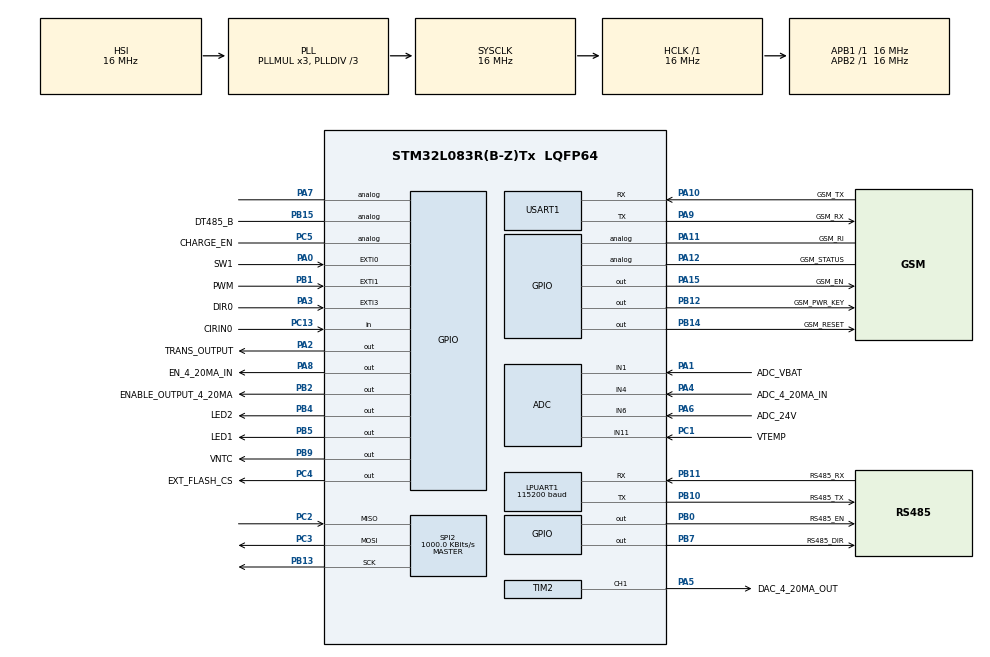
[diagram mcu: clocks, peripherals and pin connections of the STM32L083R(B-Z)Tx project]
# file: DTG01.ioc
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ADC.ClockPrescaler=ADC_CLOCK_ASYNC_DIV10
ADC.EOCSelection=ADC_EOC_SINGLE_CONV
ADC.LowPowerAutoPowerOff=DISABLE
ADC.LowPowerFrequencyMode=ENABLE
ADC.SamplingTime=ADC_SAMPLETIME_160CYCLES_5
Dma.Request0=USART1_RX
Dma.Request1=USART1_TX
Dma.USART1_RX.0.Direction=DMA_PERIPH_TO_MEMORY
Dma.USART1_RX.0.Instance=DMA1_Channel3
Dma.USART1_RX.0.MemDataAlignment=DMA_MDATAALIGN_BYTE
Dma.USART1_RX.0.MemInc=DMA_MINC_ENABLE
Dma.USART1_RX.0.Mode=DMA_CIRCULAR
Dma.USART1_RX.0.PeriphDataAlignment=DMA_PDATAALIGN_BYTE
Dma.USART1_RX.0.PeriphInc=DMA_PINC_DISABLE
Dma.USART1_RX.0.Priority=DMA_PRIORITY_HIGH
Dma.USART1_TX.1.Direction=DMA_MEMORY_TO_PERIPH
Dma.USART1_TX.1.Instance=DMA1_Channel2
Dma.USART1_TX.1.MemDataAlignment=DMA_MDATAALIGN_BYTE
Dma.USART1_TX.1.MemInc=DMA_MINC_ENABLE
Dma.USART1_TX.1.Mode=DMA_NORMAL
Dma.USART1_TX.1.PeriphDataAlignment=DMA_PDATAALIGN_BYTE
Dma.USART1_TX.1.PeriphInc=DMA_PINC_DISABLE
Dma.USART1_TX.1.Priority=DMA_PRIORITY_HIGH
IWDG.Prescaler=IWDG_PRESCALER_256
LPUART1.BaudRate=115200
LPUART1.WordLength=UART_WORDLENGTH_8B
Mcu.Family=STM32L0
Mcu.Name=STM32L083R(B-Z)Tx
Mcu.Package=LQFP64
NVIC.ADC1_COMP_IRQn=true\:0\:0\:false\:false\:true\:true\:true
NVIC.AES_RNG_LPUART1_IRQn=true\:0\:0\:false\:false\:true\:true\:true
NVIC.DMA1_Channel2_3_IRQn=true\:0\:0\:false\:false\:true\:false\:true
NVIC.EXTI0_1_IRQn=true\:0\:0\:false\:false\:true\:true\:true
NVIC.EXTI2_3_IRQn=true\:0\:0\:false\:false\:true\:true\:true
NVIC.RTC_IRQn=true\:0\:0\:false\:false\:true\:true\:true
NVIC.SPI2_IRQn=true\:0\:0\:false\:false\:true\:true\:true
NVIC.USART1_IRQn=true\:0\:0\:false\:false\:true\:true\:true
PA0.GPIO_Label=SW1
PA0.Signal=GPXTI0
PA1.GPIO_Label=ADC_VBAT
PA1.Mode=IN1
PA1.Signal=ADC_IN1
PA10.GPIO_Label=GSM_TX
PA10.Mode=Asynchronous
PA10.Signal=USART1_RX
PA11.GPIO_Label=GSM_RI
PA11.Signal=GPIO_Analog
PA12.GPIO_Label=GSM_STATUS
PA12.Signal=GPIO_Analog
PA13.Mode=Serial_Wire
PA13.Signal=SYS_SWDIO
PA14.Mode=Serial_Wire
PA14.Signal=SYS_SWCLK
PA15.GPIO_Label=GSM_EN
PA15.Signal=GPIO_Output
PA2.GPIO_Label=TRANS_OUTPUT
PA2.Signal=GPIO_Output
PA3.GPIO_Label=DIR0
PA3.GPIO_ModeDefaultEXTI=GPIO_MODE_IT_RISING_FALLING
PA3.GPIO_PuPd=GPIO_NOPULL
PA3.Signal=GPXTI3
PA4.GPIO_Label=ADC_4_20MA_IN
PA4.Signal=SharedAnalog_PA4
PA5.GPIO_Label=DAC_4_20MA_OUT
PA5.Signal=S_TIM2_CH1
PA6.GPIO_Label=ADC_24V
PA6.Signal=SharedAnalog_PA6
PA7.Signal=GPIO_Analog
PA8.GPIO_Label=EN_4_20MA_IN
PA8.PinState=GPIO_PIN_SET
PA8.Signal=GPIO_Output
PA9.GPIO_Label=GSM_RX
PA9.Mode=Asynchronous
PA9.Signal=USART1_TX
PB0.GPIO_Label=RS485_EN
PB0.Signal=GPIO_Output
PB1.GPIO_Label=PWM
PB1.GPIO_ModeDefaultEXTI=GPIO_MODE_IT_RISING_FALLING
PB1.Signal=GPXTI1
PB10.GPIO_Label=RS485_TX
PB10.Mode=Asynchronous
PB10.Signal=LPUART1_TX
PB11.GPIO_Label=RS485_RX
PB11.Mode=Asynchronous
PB11.Signal=LPUART1_RX
PB12.GPIO_Label=GSM_PWR_KEY
PB12.Signal=GPIO_Output
PB13.Mode=Full_Duplex_Master
PB13.Signal=SPI2_SCK
PB14.GPIO_Label=GSM_RESET
PB14.Signal=GPIO_Output
PB15.GPIO_Label=DT485_B
PB15.Signal=GPIO_Analog
PB2.GPIO_Label=ENABLE_OUTPUT_4_20MA
PB2.Signal=GPIO_Output
PB4.GPIO_Label=LED2
PB4.Signal=GPIO_Output
PB5.GPIO_Label=LED1
PB5.Signal=GPIO_Output
PB7.GPIO_Label=RS485_DIR
PB7.Signal=GPIO_Output
PB9.GPIO_Label=VNTC
PB9.GPIO_PuPd=GPIO_PULLDOWN
PB9.Signal=GPIO_Output
PC1.GPIO_Label=VTEMP
PC1.Mode=IN11
PC1.Signal=ADC_IN11
PC13.GPIO_Label=CIRIN0
PC13.Signal=GPIO_Input
PC2.Mode=Full_Duplex_Master
PC2.Signal=SPI2_MISO
PC3.Mode=Full_Duplex_Master
PC3.Signal=SPI2_MOSI
PC4.GPIO_Label=EXT_FLASH_CS
PC4.GPIO_PuPd=GPIO_NOPULL
PC4.GPIO_Speed=GPIO_SPEED_FREQ_VERY_HIGH
PC4.PinState=GPIO_PIN_SET
PC4.Signal=GPIO_Output
PC5.GPIO_Label=CHARGE_EN
PC5.Signal=GPIO_Analog
ProjectManager.HeapSize=0x200
ProjectManager.StackSize=0x400
ProjectManager.TargetToolchain=MDK-ARM V5.27
RCC.AHBFreq_Value=16000000
RCC.APB1Freq_Value=16000000
RCC.APB1TimFreq_Value=16000000
RCC.APB2Freq_Value=16000000
RCC.APB2TimFreq_Value=16000000
RCC.HCLKFreq_Value=16000000
RCC.HSE_VALUE=8000000
RCC.HSI16_VALUE=16000000
RCC.HSI48_VALUE=48000000
RCC.HSI_VALUE=16000000
RCC.MSIClockRange=RCC_MSIRANGE_6
RCC.MSI_VALUE=4194000
RCC.PLLDIV=RCC_PLLDIV_3
RCC.RTCClockSelection=RCC_RTCCLKSOURCE_LSI
RCC.RTCClockSelectionVirtual=RCC_RTCCLKSOURCE_LSE
RCC.SYSCLKFreq_VALUE=16000000
RCC.SYSCLKSource=RCC_SYSCLKSOURCE_PLLCLK
RCC.VCOOutputFreq_Value=48000000
RTC.SynchPrediv=288
RTC.WakeUpClock-WakeUp=RTC_WAKEUPCLOCK_RTCCLK_DIV16
RTC.WakeUpCounter-WakeUp=18
SH.S_TIM2_CH1.0=TIM2_CH1,PWM Generation1 CH1
SH.SharedAnalog_PA4.0=GPIO_Analog
SH.SharedAnalog_PA4.1=ADC_IN4,IN4
SH.SharedAnalog_PA6.0=GPIO_Analog
SH.SharedAnalog_PA6.1=ADC_IN6,IN6
SPI2.BaudRatePrescaler=SPI_BAUDRATEPRESCALER_16
SPI2.CalculateBaudRate=1000.0 KBits/s
SPI2.Direction=SPI_DIRECTION_2LINES
SPI2.Mode=SPI_MODE_MASTER
SPI2.VirtualType=VM_MASTER
TIM2.AutoReloadPreload=TIM_AUTORELOAD_PRELOAD_ENABLE
TIM2.Channel-PWM\ Generation1\ CH1=TIM_CHANNEL_1
TIM2.ClockDivision=TIM_CLOCKDIVISION_DIV1
TIM2.Period=4095
TIM2.Prescaler=1
TIM2.Pulse-PWM\ Generation1\ CH1=0
USART1.VirtualMode-Asynchronous=VM_ASYNC
VP_ADC_TempSens_Input.Mode=IN-TempSens
VP_ADC_Vref_Input.Mode=IN-Vrefint
VP_IWDG_VS_IWDG.Mode=IWDG_Activate
VP_RTC_VS_RTC_Activate.Mode=RTC_Enabled
VP_RTC_VS_RTC_Calendar.Mode=RTC_Calendar
VP_RTC_VS_RTC_WakeUp_intern.Mode=WakeUp
VP_TIM2_VS_ClockSourceINT.Mode=Internal
board=custom

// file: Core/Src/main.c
/* USER CODE BEGIN Header */
/**
  ******************************************************************************
  * @file           : main.c
  * @brief          : Main program body
  ******************************************************************************
  * @attention
  *
  * <h2><center>&copy; Copyright (c) 2021 STMicroelectronics.
  * All rights reserved.</center></h2>
  *
  * This software component is licensed by ST under BSD 3-Clause license,
  * the "License"; You may not use this file except in compliance with the
  * License. You may obtain a copy of the License at:
  *                        opensource.org/licenses/BSD-3-Clause
  *
  ******************************************************************************
  */
/* USER CODE END Header */
#include "main.h"
#include "adc.h"
#include "dma.h"
#include "iwdg.h"
#include "usart.h"
#include "rtc.h"
#include "spi.h"
#include "tim.h"
#include "gpio.h"

/* USER CODE BEGIN Includes */
#include "app_eeprom.h"
#include "measure_input.h"
#include "lpf.h"
#include "stdbool.h"
#include "app_cli.h"
#include "app_wdt.h"
#include "app_sync.h"
#include "hardware_manager.h"
#include "app_bkup.h"
#include "control_output.h"
#include "gsm.h"
#include "hardware.h"
#include "modbus_master.h"
#include "string.h"
#include "sys_ctx.h"
#include "app_rtc.h"
#include "app_debug.h"
#include "app_spi_flash.h"
#include "ota_update.h"
#include "flash_if.h"
#include "version_control.h"
/* USER CODE END Includes */

/* USER CODE BEGIN PTD */
#define WAKEUP_RESET_WDT_IN_LOW_POWER_MODE            37000     // ( ~18s)
#define DEBUG_LOW_POWER                                 0
#define DISABLE_GPIO_ENTER_LOW_POWER_MODE               0
#define TEST_POWER_ALWAYS_TURN_OFF_GSM                  0
#define TEST_OUTPUT_4_20MA                              0
#define TEST_INPUT_4_20_MA                              0
#define TEST_RS485                                      0
#define MAX_DISCONNECTED_TIMEOUT_S                      60
#define TEST_BACKUP_REGISTER                            0
/* USER CODE END PTD */

/* USER CODE BEGIN PD */
#define GSM_ENABLE					1
/* USER CODE END PD */

void SystemClock_Config(void);

/* USER CODE BEGIN 0 */
/* memory for ummalloc */
uint8_t g_umm_heap[UMM_MALLOC_CFG_HEAP_SIZE];
static volatile uint32_t m_delay_afer_wakeup_from_deep_sleep_to_measure_data;
static void task_feed_wdt(void *arg);
static void gsm_mnr_task(void *arg);
static void info_task(void *arg);
volatile uint32_t led_blink_delay = 0;
void sys_config_low_power_mode(void);
volatile uint32_t m_delay_consider_wakeup = 0;
extern volatile uint32_t measure_input_turn_on_in_4_20ma_power;
/* USER CODE END 0 */

int main(void)
{
  /* USER CODE BEGIN 1 */

	hardware_manager_get_reset_reason();
  /* USER CODE END 1 */

  /* MCU Configuration--------------------------------------------------------*/

  /* Reset of all peripherals, Initializes the Flash interface and the Systick. */
  HAL_Init();

  /* USER CODE BEGIN Init */
    app_eeprom_init();
	app_eeprom_config_data_t *eeprom_cfg = app_eeprom_read_config_data();
    sys_ctx_t *system = sys_ctx();
#if TEST_OUTPUT_4_20MA
	eeprom_cfg->io_enable.name.output_4_20ma_enable = 1;
    system->status.is_enter_test_mode = 1;
#endif
//#if TEST_INPUT_4_20_MA
//    eeprom_cfg->io_enable.name.input_4_20ma_enable = 1;
//    system->status.is_enter_test_mode = 1;
//#endif
  /* USER CODE END Init */

  /* Configure the system clock */
  SystemClock_Config();

  /* USER CODE BEGIN SysInit */
    __enable_irq();
#if 1
  /* USER CODE END SysInit */

  /* Initialize all configured peripherals */
  MX_GPIO_Init();
  MX_DMA_Init();
  MX_IWDG_Init();
  MX_RTC_Init();
  MX_ADC_Init();
  MX_USART1_UART_Init();
  MX_LPUART1_UART_Init();
  MX_SPI2_Init();
  MX_TIM2_Init();
  /* USER CODE BEGIN 2 */
#endif
//	HAL_ADC
    __HAL_DBGMCU_FREEZE_IWDG();     // stop watchdog in debug mode
    ENABLE_INPUT_4_20MA_POWER(0);
    RS485_POWER_EN(0);
//	DEBUG_RAW(RTT_CTRL_CLEAR);
    system->peripheral_running.name.flash_running = 1;
    system->peripheral_running.name.rs485_running = 1;
	app_cli_start();
	app_bkup_init();
    app_eeprom_init();
    app_spi_flash_initialize();
	measure_input_initialize();
	control_ouput_init();
	adc_start();
	gsm_init_hw();

	app_sync_config_t config;
	config.get_ms = sys_get_ms;
	config.polling_interval_ms = 1;
	app_sync_sytem_init(&config);

	app_sync_register_callback(task_feed_wdt, 15000, SYNC_DRV_REPEATED, SYNC_DRV_SCOPE_IN_LOOP);
	app_sync_register_callback(gsm_mnr_task, 1000, SYNC_DRV_REPEATED, SYNC_DRV_SCOPE_IN_LOOP);
	app_sync_register_callback(info_task, 1000, SYNC_DRV_REPEATED, SYNC_DRV_SCOPE_IN_LOOP);
	app_eeprom_config_data_t *cfg = app_eeprom_read_config_data();

    ota_flash_cfg_t *ota_cfg = ota_update_get_config();
#if TEST_OUTPUT_4_20MA
	cfg->io_enable.name.output_4_20ma_enable = 1;
	cfg->io_enable.name.output_4_20ma_value = 10;
	cfg->io_enable.name.output_4_20ma_timeout_100ms = 100;
	control_output_dac_enable(1000000);
    system->status.is_enter_test_mode = 1;
#endif

#if TEST_INPUT_4_20_MA
    cfg->io_enable.name.input_4_20ma_enable = 1;
    system->status.is_enter_test_mode = 1;
#endif
//    DEBUG_PRINTF("Build %s %s, version %s\r\nOTA flag 0x%08X, info %s\r\n", __DATE__, __TIME__,
//                                                                            VERSION_CONTROL_FW,
//                                                                            ota_cfg->flag, (uint8_t*)ota_cfg->reserve);
    LED1(1);
#if TEST_BACKUP_REGISTER
    for(uint32_t i = 0; i < 4; i++)
    {
        app_bkup_write_pulse_counter(i, i*2, i*3, i*4);
    }
    app_bkup_write_pulse_counter(0, 0, 0, 0);
#endif
  /* USER CODE END 2 */

  /* Infinite loop */
  /* USER CODE BEGIN WHILE */
  while (1)
  {
#if GSM_ENABLE
	gsm_hw_layer_run();
#endif

#if TEST_POWER_ALWAYS_TURN_OFF_GSM
    if (!gsm_data_layer_is_module_sleeping())
    {
        gsm_change_state(GSM_STATE_SLEEP);
    }
#endif
	control_ouput_task();
	measure_input_task();
	app_cli_poll();
	app_sync_polling_task();
	if (led_blink_delay)
	{
		LED1(1);
		LED2(1);
	}
	else
	{
		LED1(0);
		LED2(0);
	}

	if (system->status.is_enter_test_mode)
	{
		cfg->io_enable.name.output_4_20ma_enable = 1;
		eeprom_cfg->io_enable.name.output_4_20ma_enable = 1;
		if (eeprom_cfg->output_4_20ma < 1.0f)
			eeprom_cfg->output_4_20ma = 10;
		cfg->io_enable.name.output_4_20ma_timeout_100ms = 100;
		control_output_dac_enable(1000000);
		cfg->io_enable.name.rs485_en = 1;
		ENABLE_INPUT_4_20MA_POWER(1);
        RS485_POWER_EN(1);
        usart_lpusart_485_control(1);
	}

    if (!cfg->io_enable.name.rs485_en)
    {
        system->peripheral_running.name.rs485_running = 0;
        usart_lpusart_485_control(0);
    }

    if (!cfg->io_enable.name.input_4_20ma_enable)
    {
        ENABLE_INPUT_4_20MA_POWER(0);
        system->peripheral_running.name.wait_for_input_4_20ma_power_on = 0;
        measure_input_turn_on_in_4_20ma_power = 0;
    }

    if (gsm_data_layer_is_module_sleeping())
    {
        system->peripheral_running.name.gsm_running = 0;
        if (system->peripheral_running.name.flash_running)
        {
            app_spi_flash_shutdown();
            spi_deinit();
            system->peripheral_running.name.flash_running = 0;
        }

        usart1_control(false);
        GSM_PWR_EN(0);
        GSM_PWR_RESET(0);
        GSM_PWR_KEY(0);
    }
    else
    {
        system->peripheral_running.name.gsm_running = 1;
    }

    if (ota_update_is_running())
    {
//        system->status.sleep_time_s = 0;
        system->status.disconnect_timeout_s = 0;
    }

	if (cfg->io_enable.name.rs485_en)
	{
		RS485_POWER_EN(cfg->io_enable.name.rs485_en);
	}

    if (system->peripheral_running.value == 0)
    {
        adc_stop();
        if (system->status.is_enter_test_mode == 0
            && m_delay_consider_wakeup == 0
            && (LL_GPIO_IsInputPinSet(ADC_24V_GPIO_Port, ADC_24V_Pin) == 0))
        {
            sys_config_low_power_mode();
        }
    }

#ifdef WDT_ENABLE
    LL_IWDG_ReloadCounter(IWDG);
#endif
    /* USER CODE END WHILE */

  }
}

void SystemClock_Config(void)
{
  RCC_OscInitTypeDef RCC_OscInitStruct = {0};
  RCC_ClkInitTypeDef RCC_ClkInitStruct = {0};
  RCC_PeriphCLKInitTypeDef PeriphClkInit = {0};

  /** Configure the main internal regulator output voltage
  */
  __HAL_PWR_VOLTAGESCALING_CONFIG(PWR_REGULATOR_VOLTAGE_SCALE1);
  /** Initializes the RCC Oscillators according to the specified parameters
  * in the RCC_OscInitTypeDef structure.
  */
  RCC_OscInitStruct.OscillatorType = RCC_OSCILLATORTYPE_HSI|RCC_OSCILLATORTYPE_LSI;
  RCC_OscInitStruct.HSIState = RCC_HSI_ON;
  RCC_OscInitStruct.HSICalibrationValue = RCC_HSICALIBRATION_DEFAULT;
  RCC_OscInitStruct.LSIState = RCC_LSI_ON;
  RCC_OscInitStruct.PLL.PLLState = RCC_PLL_ON;
  RCC_OscInitStruct.PLL.PLLSource = RCC_PLLSOURCE_HSI;
  RCC_OscInitStruct.PLL.PLLMUL = RCC_PLLMUL_3;
  RCC_OscInitStruct.PLL.PLLDIV = RCC_PLLDIV_3;
  if (HAL_RCC_OscConfig(&RCC_OscInitStruct) != HAL_OK)
  {
    Error_Handler();
  }
  /** Initializes the CPU, AHB and APB buses clocks
  */
  RCC_ClkInitStruct.ClockType = RCC_CLOCKTYPE_HCLK|RCC_CLOCKTYPE_SYSCLK
                              |RCC_CLOCKTYPE_PCLK1|RCC_CLOCKTYPE_PCLK2;
  RCC_ClkInitStruct.SYSCLKSource = RCC_SYSCLKSOURCE_PLLCLK;
  RCC_ClkInitStruct.AHBCLKDivider = RCC_SYSCLK_DIV1;
  RCC_ClkInitStruct.APB1CLKDivider = RCC_HCLK_DIV1;
  RCC_ClkInitStruct.APB2CLKDivider = RCC_HCLK_DIV1;

  if (HAL_RCC_ClockConfig(&RCC_ClkInitStruct, FLASH_LATENCY_0) != HAL_OK)
  {
    Error_Handler();
  }
  PeriphClkInit.PeriphClockSelection = RCC_PERIPHCLK_USART1|RCC_PERIPHCLK_LPUART1
                              |RCC_PERIPHCLK_RTC;
  PeriphClkInit.Usart1ClockSelection = RCC_USART1CLKSOURCE_PCLK2;
  PeriphClkInit.Lpuart1ClockSelection = RCC_LPUART1CLKSOURCE_PCLK1;
  PeriphClkInit.RTCClockSelection = RCC_RTCCLKSOURCE_LSI;
  if (HAL_RCCEx_PeriphCLKConfig(&PeriphClkInit) != HAL_OK)
  {
    Error_Handler();
  }
}

/* USER CODE BEGIN 4 */

uint32_t sys_get_ms()
{
	return uwTick;
}

void sys_delay_ms(uint32_t ms)
{
	uint32_t current_tick = HAL_GetTick();

	while (1)
	{
#ifdef WDT_ENABLE
        LL_IWDG_ReloadCounter(IWDG);
#endif
//		__WFI();
		if (HAL_GetTick() - current_tick >= (uint32_t)ms)
		{
			break;
		}
	}
}

static void task_feed_wdt(void *arg)
{
#ifdef WDT_ENABLE
	LL_IWDG_ReloadCounter(IWDG);
#endif
}

static void gsm_mnr_task(void *arg)
{
	gsm_manager_tick();
    sys_ctx_t *ctx = sys_ctx();
    if (gsm_data_layer_is_module_sleeping())
    {
//        ctx->status.sleep_time_s++;
        ctx->status.disconnect_timeout_s = 0;
    }
    else
    {
        if (ctx->status.disconnect_timeout_s++ > MAX_DISCONNECTED_TIMEOUT_S)
        {
            DEBUG_ERROR("GSM disconnected for a longtime\r\n");
            app_eeprom_config_data_t *eeprom_cfg = app_eeprom_read_config_data();
            measure_input_save_all_data_to_flash();
            ctx->status.disconnect_timeout_s = 0;
            if (ctx->status.disconnected_count++ > 24)
            {
                ctx->status.disconnected_count = 0;
                if (strlen((char*)eeprom_cfg->phone) > 9
                    && eeprom_cfg->io_enable.name.warning)
                {
                    gsm_send_sms((char*)eeprom_cfg->phone, "Server lost");
                }
                else
                {
                    gsm_change_state(GSM_STATE_SLEEP);
                }
            }
            else
            {
                gsm_change_state(GSM_STATE_SLEEP);
            }
        }
    }
}

static void info_task(void *arg)
{
	static uint32_t i = 0;
    sys_ctx_t *system = sys_ctx();

//	if (system->status.is_enter_test_mode)
//	{
//		char buf[48];
//		sprintf(buf, "%u\r\n", sys_get_ms());
//		RS485_EN(1);
//        RS485_DIR_RX();
//        i = 5;
////		Modbus_Master_Write((uint8_t*)buf, strlen(buf));
//	}
    if (i++ >= 5)
	{
		i = 0;
		adc_input_value_t *adc = adc_get_input_result();
        rtc_date_time_t time;
        app_rtc_get_time(&time);
        char tmp[24];
        char *p = tmp;
        for (uint32_t i = 0; i < 1; i++)
        {
            p += sprintf(p, "(%.2f),", adc->in_4_20ma_in[i]);
        }

		DEBUG_PRINTF("vdda %umv, bat_mv %u-%u, vin-24 %umV, 4-20mA %s temp %u\r\n",
                    adc->vdda_mv,
					adc->bat_mv, adc->bat_percent,
					adc->vin_24,
					tmp,
					adc->temp);
	}
}

void sys_turn_on_led(uint32_t delay_ms)
{
    led_blink_delay = delay_ms;
}

static bool m_wakeup_timer_run = false;
void sys_config_low_power_mode(void)
{
    // estimate RTC wakeup time
    if (m_wakeup_timer_run == false)
    {
        sys_ctx_t *ctx = sys_ctx();

#if DEBUG_LOW_POWER
        __DBGMCU_CLK_ENABLE() ; // (RCC->APB2ENR |= (RCC_APB2ENR_DBGMCUEN))
        HAL_EnableDBGStopMode();  //  SET_BIT(DBGMCU->CR, DBGMCU_CR_DBG_STOP);
#endif

#ifdef WDT_ENABLE
	LL_IWDG_ReloadCounter(IWDG);
#endif

        uint32_t counter_before_sleep = app_rtc_get_counter();
//        DEBUG_VERBOSE("Before sleep - counter %u\r\n", counter_before_sleep);
        HAL_RTCEx_DeactivateWakeUpTimer(&hrtc);
        if (HAL_RTCEx_SetWakeUpTimer_IT(&hrtc, WAKEUP_RESET_WDT_IN_LOW_POWER_MODE, RTC_WAKEUPCLOCK_RTCCLK_DIV16) != HAL_OK)
        {
            Error_Handler();
        }
        __HAL_PWR_CLEAR_FLAG(PWR_FLAG_WU);

        sys_enable_power_plug_detect();

        /* Disable GPIOs clock */
        LL_IOP_GRP1_DisableClock(LL_IOP_GRP1_PERIPH_GPIOA);
        LL_IOP_GRP1_DisableClock(LL_IOP_GRP1_PERIPH_GPIOB);
        LL_IOP_GRP1_DisableClock(LL_IOP_GRP1_PERIPH_GPIOC);
        LL_IOP_GRP1_DisableClock(LL_IOP_GRP1_PERIPH_GPIOH);

        /* Disable SysTick Interrupt */
        SysTick->CTRL &= ~SysTick_CTRL_TICKINT_Msk;

//          GPIO_InitTypeDef GPIO_InitStructure;
        __HAL_RCC_PWR_CLK_ENABLE();

        /* Enable the Ultra Low Power mode */
        SET_BIT(PWR->CR, PWR_CR_ULP);

        /* Enable the fast wake up */
        SET_BIT(PWR->CR, PWR_CR_FWU);

        /* Select MSI as system clock source after Wake Up from Stop mode */
        __HAL_RCC_WAKEUPSTOP_CLK_CONFIG(RCC_STOP_WAKEUPCLOCK_MSI);

          /* Enter Stop Mode */
        HAL_PWR_EnterSTOPMode(PWR_LOWPOWERREGULATOR_ON, PWR_STOPENTRY_WFI);

        __HAL_PWR_CLEAR_FLAG(PWR_FLAG_WU);

#if 1
        /* Enable GPIOs clock */
        LL_IOP_GRP1_EnableClock(LL_IOP_GRP1_PERIPH_GPIOA);
        LL_IOP_GRP1_EnableClock(LL_IOP_GRP1_PERIPH_GPIOB);
        LL_IOP_GRP1_EnableClock(LL_IOP_GRP1_PERIPH_GPIOC);
        LL_IOP_GRP1_EnableClock(LL_IOP_GRP1_PERIPH_GPIOH);
#endif
        uint32_t counter_after_sleep = app_rtc_get_counter();
        uint32_t diff = counter_after_sleep-counter_before_sleep;
        uwTick += diff*1000;
//        DEBUG_VERBOSE("Afer sleep - counter %u, diff %u\r\n", counter_after_sleep, diff);

//        ctx->status.sleep_time_s += diff;
        HAL_RTCEx_DeactivateWakeUpTimer(&hrtc);
        m_wakeup_timer_run = false;
        DEBUG_VERBOSE("Wake\r\n");

        /* Enable SysTick Interrupt */
        SysTick->CTRL  |= SysTick_CTRL_TICKINT_Msk;

        SystemClock_Config();
#ifdef WDT_ENABLE
        LL_IWDG_ReloadCounter(IWDG);
#endif
    }
    else
    {
//        DEBUG_PRINTF("RTC timer still running\r\n");
    }
}

void HAL_RTCEx_WakeUpTimerEventCallback(RTC_HandleTypeDef *hrtc)
{
    m_wakeup_timer_run = false;
//    DEBUG_VERBOSE("Wakeup timer event callback\r\n");
    __HAL_PWR_CLEAR_FLAG(PWR_FLAG_WU);
}

void sys_enable_power_plug_detect(void)
{
    LL_GPIO_SetPinPull(ADC_24V_GPIO_Port, ADC_24V_Pin, LL_GPIO_PULL_NO);
    LL_GPIO_SetPinMode(ADC_24V_GPIO_Port, ADC_24V_Pin, LL_GPIO_MODE_INPUT);
    LL_EXTI_InitTypeDef EXTI_InitStruct = {0};

    EXTI_InitStruct.Line_0_31 = LL_EXTI_LINE_6;
    EXTI_InitStruct.LineCommand = ENABLE;
    EXTI_InitStruct.Mode = LL_EXTI_MODE_IT;
    EXTI_InitStruct.Trigger = LL_EXTI_TRIGGER_RISING_FALLING;
    LL_EXTI_Init(&EXTI_InitStruct);

    NVIC_SetPriority(EXTI4_15_IRQn, 0);
    NVIC_EnableIRQ(EXTI4_15_IRQn);
}

void sys_disable_power_plug_config(void)
{
    LL_EXTI_DisableIT_0_31(LL_EXTI_LINE_6);
    NVIC_DisableIRQ(EXTI4_15_IRQn);
}

/* USER CODE END 4 */

void Error_Handler(void)
{
  /* USER CODE BEGIN Error_Handler_Debug */
    DEBUG_ERROR("Error handle\r\n");
    NVIC_SystemReset();
  while (1)
  {
  }
  /* USER CODE END Error_Handler_Debug */
}

#ifdef  USE_FULL_ASSERT
/**
  * @brief  Reports the name of the source file and the source line number
  *         where the assert_param error has occurred.
  * @param  file: pointer to the source file name
  * @param  line: assert_param error line source number
  * @retval None
  */
void assert_failed(uint8_t *file, uint32_t line)
{
  /* USER CODE BEGIN 6 */
  /* User can add his own implementation to report the file name and line number,
     ex: printf("Wrong parameters value: file %s on line %d\r\n", file, line) */
	DEBUG_ERROR("Assert failed %s, line %u\r\n", file, line);
    NVIC_SystemReset();
	while (1);
  /* USER CODE END 6 */
}
#endif /* USE_FULL_ASSERT */

/************************ (C) COPYRIGHT STMicroelectronics *****END OF FILE****/
